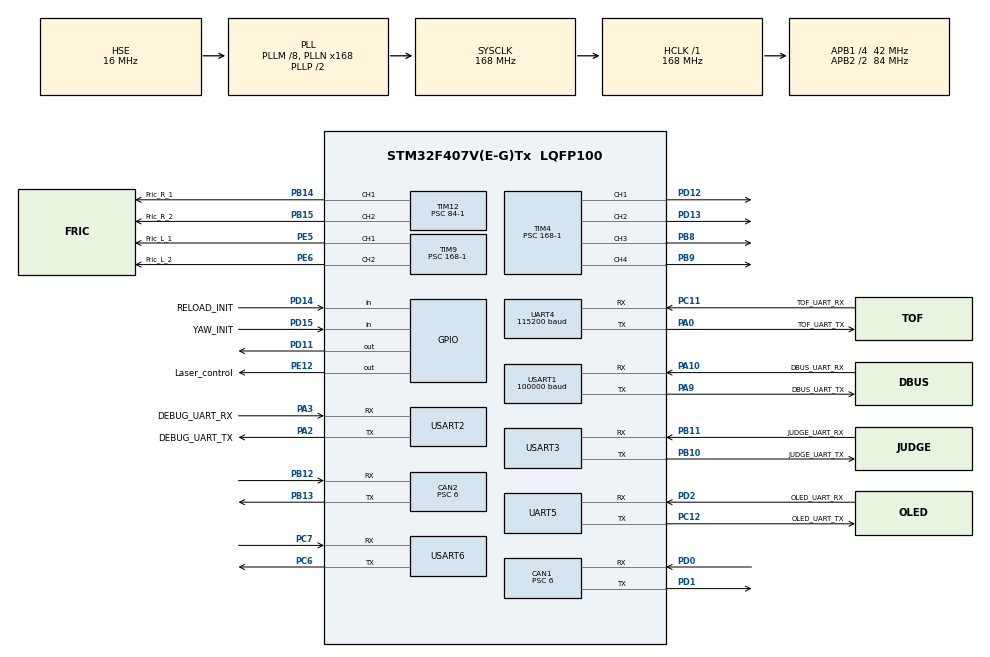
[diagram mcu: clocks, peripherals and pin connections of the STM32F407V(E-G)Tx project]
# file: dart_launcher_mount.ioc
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CAN1.ABOM=ENABLE
CAN1.BS1=CAN_BS1_3TQ
CAN1.BS2=CAN_BS2_3TQ
CAN1.CalculateBaudRate=1000000
CAN1.CalculateTimeBit=1000
CAN1.CalculateTimeQuantum=142.85714285714286
CAN1.Prescaler=6
CAN2.ABOM=ENABLE
CAN2.BS1=CAN_BS1_3TQ
CAN2.BS2=CAN_BS2_3TQ
CAN2.CalculateBaudRate=1000000
CAN2.CalculateTimeBit=1000
CAN2.CalculateTimeQuantum=142.85714285714286
CAN2.Prescaler=6
Dma.Request0=UART4_RX
Dma.Request1=UART4_TX
Dma.Request10=USART6_TX
Dma.Request11=USART6_RX
Dma.Request2=UART5_RX
Dma.Request3=UART5_TX
Dma.Request4=USART1_RX
Dma.Request5=USART1_TX
Dma.Request6=USART2_RX
Dma.Request7=USART2_TX
Dma.Request8=USART3_RX
Dma.Request9=USART3_TX
Dma.UART4_RX.0.Direction=DMA_PERIPH_TO_MEMORY
Dma.UART4_RX.0.FIFOMode=DMA_FIFOMODE_DISABLE
Dma.UART4_RX.0.Instance=DMA1_Stream2
Dma.UART4_RX.0.MemDataAlignment=DMA_MDATAALIGN_BYTE
Dma.UART4_RX.0.MemInc=DMA_MINC_ENABLE
Dma.UART4_RX.0.Mode=DMA_NORMAL
Dma.UART4_RX.0.PeriphDataAlignment=DMA_PDATAALIGN_BYTE
Dma.UART4_RX.0.PeriphInc=DMA_PINC_DISABLE
Dma.UART4_RX.0.Priority=DMA_PRIORITY_LOW
Dma.UART4_TX.1.Direction=DMA_MEMORY_TO_PERIPH
Dma.UART4_TX.1.FIFOMode=DMA_FIFOMODE_DISABLE
Dma.UART4_TX.1.Instance=DMA1_Stream4
Dma.UART4_TX.1.MemDataAlignment=DMA_MDATAALIGN_BYTE
Dma.UART4_TX.1.MemInc=DMA_MINC_ENABLE
Dma.UART4_TX.1.Mode=DMA_NORMAL
Dma.UART4_TX.1.PeriphDataAlignment=DMA_PDATAALIGN_BYTE
Dma.UART4_TX.1.PeriphInc=DMA_PINC_DISABLE
Dma.UART4_TX.1.Priority=DMA_PRIORITY_LOW
Dma.UART5_RX.2.Direction=DMA_PERIPH_TO_MEMORY
Dma.UART5_RX.2.FIFOMode=DMA_FIFOMODE_DISABLE
Dma.UART5_RX.2.Instance=DMA1_Stream0
Dma.UART5_RX.2.MemDataAlignment=DMA_MDATAALIGN_BYTE
Dma.UART5_RX.2.MemInc=DMA_MINC_ENABLE
Dma.UART5_RX.2.Mode=DMA_NORMAL
Dma.UART5_RX.2.PeriphDataAlignment=DMA_PDATAALIGN_BYTE
Dma.UART5_RX.2.PeriphInc=DMA_PINC_DISABLE
Dma.UART5_RX.2.Priority=DMA_PRIORITY_LOW
Dma.UART5_TX.3.Direction=DMA_MEMORY_TO_PERIPH
Dma.UART5_TX.3.FIFOMode=DMA_FIFOMODE_DISABLE
Dma.UART5_TX.3.Instance=DMA1_Stream7
Dma.UART5_TX.3.MemDataAlignment=DMA_MDATAALIGN_BYTE
Dma.UART5_TX.3.MemInc=DMA_MINC_ENABLE
Dma.UART5_TX.3.Mode=DMA_NORMAL
Dma.UART5_TX.3.PeriphDataAlignment=DMA_PDATAALIGN_BYTE
Dma.UART5_TX.3.PeriphInc=DMA_PINC_DISABLE
Dma.UART5_TX.3.Priority=DMA_PRIORITY_LOW
Dma.USART1_RX.4.Direction=DMA_PERIPH_TO_MEMORY
Dma.USART1_RX.4.FIFOMode=DMA_FIFOMODE_DISABLE
Dma.USART1_RX.4.Instance=DMA2_Stream2
Dma.USART1_RX.4.MemDataAlignment=DMA_MDATAALIGN_BYTE
Dma.USART1_RX.4.MemInc=DMA_MINC_ENABLE
Dma.USART1_RX.4.Mode=DMA_NORMAL
Dma.USART1_RX.4.PeriphDataAlignment=DMA_PDATAALIGN_BYTE
Dma.USART1_RX.4.PeriphInc=DMA_PINC_DISABLE
Dma.USART1_RX.4.Priority=DMA_PRIORITY_LOW
Dma.USART1_TX.5.Direction=DMA_MEMORY_TO_PERIPH
Dma.USART1_TX.5.FIFOMode=DMA_FIFOMODE_DISABLE
Dma.USART1_TX.5.Instance=DMA2_Stream7
Dma.USART1_TX.5.MemDataAlignment=DMA_MDATAALIGN_BYTE
Dma.USART1_TX.5.MemInc=DMA_MINC_ENABLE
Dma.USART1_TX.5.Mode=DMA_NORMAL
Dma.USART1_TX.5.PeriphDataAlignment=DMA_PDATAALIGN_BYTE
Dma.USART1_TX.5.PeriphInc=DMA_PINC_DISABLE
Dma.USART1_TX.5.Priority=DMA_PRIORITY_LOW
Dma.USART2_RX.6.Direction=DMA_PERIPH_TO_MEMORY
Dma.USART2_RX.6.FIFOMode=DMA_FIFOMODE_DISABLE
Dma.USART2_RX.6.Instance=DMA1_Stream5
Dma.USART2_RX.6.MemDataAlignment=DMA_MDATAALIGN_BYTE
Dma.USART2_RX.6.MemInc=DMA_MINC_ENABLE
Dma.USART2_RX.6.Mode=DMA_NORMAL
Dma.USART2_RX.6.PeriphDataAlignment=DMA_PDATAALIGN_BYTE
Dma.USART2_RX.6.PeriphInc=DMA_PINC_DISABLE
Dma.USART2_RX.6.Priority=DMA_PRIORITY_LOW
Dma.USART2_TX.7.Direction=DMA_MEMORY_TO_PERIPH
Dma.USART2_TX.7.FIFOMode=DMA_FIFOMODE_DISABLE
Dma.USART2_TX.7.Instance=DMA1_Stream6
Dma.USART2_TX.7.MemDataAlignment=DMA_MDATAALIGN_BYTE
Dma.USART2_TX.7.MemInc=DMA_MINC_ENABLE
Dma.USART2_TX.7.Mode=DMA_NORMAL
Dma.USART2_TX.7.PeriphDataAlignment=DMA_PDATAALIGN_BYTE
Dma.USART2_TX.7.PeriphInc=DMA_PINC_DISABLE
Dma.USART2_TX.7.Priority=DMA_PRIORITY_LOW
Dma.USART3_RX.8.Direction=DMA_PERIPH_TO_MEMORY
Dma.USART3_RX.8.FIFOMode=DMA_FIFOMODE_DISABLE
Dma.USART3_RX.8.Instance=DMA1_Stream1
Dma.USART3_RX.8.MemDataAlignment=DMA_MDATAALIGN_BYTE
Dma.USART3_RX.8.MemInc=DMA_MINC_ENABLE
Dma.USART3_RX.8.Mode=DMA_NORMAL
Dma.USART3_RX.8.PeriphDataAlignment=DMA_PDATAALIGN_BYTE
Dma.USART3_RX.8.PeriphInc=DMA_PINC_DISABLE
Dma.USART3_RX.8.Priority=DMA_PRIORITY_LOW
Dma.USART3_TX.9.Direction=DMA_MEMORY_TO_PERIPH
Dma.USART3_TX.9.FIFOMode=DMA_FIFOMODE_DISABLE
Dma.USART3_TX.9.Instance=DMA1_Stream3
Dma.USART3_TX.9.MemDataAlignment=DMA_MDATAALIGN_BYTE
Dma.USART3_TX.9.MemInc=DMA_MINC_ENABLE
Dma.USART3_TX.9.Mode=DMA_NORMAL
Dma.USART3_TX.9.PeriphDataAlignment=DMA_PDATAALIGN_BYTE
Dma.USART3_TX.9.PeriphInc=DMA_PINC_DISABLE
Dma.USART3_TX.9.Priority=DMA_PRIORITY_LOW
Dma.USART6_RX.11.Direction=DMA_PERIPH_TO_MEMORY
Dma.USART6_RX.11.FIFOMode=DMA_FIFOMODE_DISABLE
Dma.USART6_RX.11.Instance=DMA2_Stream1
Dma.USART6_RX.11.MemDataAlignment=DMA_MDATAALIGN_BYTE
Dma.USART6_RX.11.MemInc=DMA_MINC_ENABLE
Dma.USART6_RX.11.Mode=DMA_NORMAL
Dma.USART6_RX.11.PeriphDataAlignment=DMA_PDATAALIGN_BYTE
Dma.USART6_RX.11.PeriphInc=DMA_PINC_DISABLE
Dma.USART6_RX.11.Priority=DMA_PRIORITY_LOW
Dma.USART6_TX.10.Direction=DMA_MEMORY_TO_PERIPH
Dma.USART6_TX.10.FIFOMode=DMA_FIFOMODE_DISABLE
Dma.USART6_TX.10.Instance=DMA2_Stream6
Dma.USART6_TX.10.MemDataAlignment=DMA_MDATAALIGN_BYTE
Dma.USART6_TX.10.MemInc=DMA_MINC_ENABLE
Dma.USART6_TX.10.Mode=DMA_NORMAL
Dma.USART6_TX.10.PeriphDataAlignment=DMA_PDATAALIGN_BYTE
Dma.USART6_TX.10.PeriphInc=DMA_PINC_DISABLE
Dma.USART6_TX.10.Priority=DMA_PRIORITY_LOW
FREERTOS.INCLUDE_uxTaskGetStackHighWaterMark=1
FREERTOS.INCLUDE_vTaskDelayUntil=1
FREERTOS.Tasks01=defaultTask,0,128,StartDefaultTask,Default,NULL,Dynamic,NULL,NULL
FREERTOS.configUSE_CO_ROUTINES=0
FREERTOS.configUSE_TIMERS=1
Mcu.Family=STM32F4
Mcu.Name=STM32F407V(E-G)Tx
Mcu.Package=LQFP100
NVIC.CAN1_RX0_IRQn=true\:5\:0\:false\:false\:true\:true\:true\:true\:true
NVIC.CAN1_RX1_IRQn=true\:5\:0\:false\:false\:true\:true\:true\:true\:true
NVIC.CAN1_SCE_IRQn=true\:5\:0\:false\:false\:true\:true\:true\:true\:true
NVIC.CAN1_TX_IRQn=true\:5\:0\:false\:false\:true\:true\:true\:true\:true
NVIC.CAN2_RX0_IRQn=true\:5\:0\:false\:false\:true\:true\:true\:true\:true
NVIC.CAN2_RX1_IRQn=true\:5\:0\:false\:false\:true\:true\:true\:true\:true
NVIC.CAN2_SCE_IRQn=true\:5\:0\:false\:false\:true\:true\:true\:true\:true
NVIC.CAN2_TX_IRQn=true\:5\:0\:false\:false\:true\:true\:true\:true\:true
NVIC.DMA1_Stream0_IRQn=true\:5\:0\:false\:false\:true\:true\:false\:true\:true
NVIC.DMA1_Stream1_IRQn=true\:5\:0\:false\:false\:true\:true\:false\:true\:true
NVIC.DMA1_Stream2_IRQn=true\:5\:0\:false\:false\:true\:true\:false\:true\:true
NVIC.DMA1_Stream3_IRQn=true\:5\:0\:false\:false\:true\:true\:false\:true\:true
NVIC.DMA1_Stream4_IRQn=true\:5\:0\:false\:false\:true\:true\:false\:true\:true
NVIC.DMA1_Stream5_IRQn=true\:5\:0\:false\:false\:true\:true\:false\:true\:true
NVIC.DMA1_Stream6_IRQn=true\:5\:0\:false\:false\:true\:true\:false\:true\:true
NVIC.DMA1_Stream7_IRQn=true\:5\:0\:false\:false\:true\:true\:false\:true\:true
NVIC.DMA2_Stream1_IRQn=true\:5\:0\:false\:false\:true\:true\:false\:true\:true
NVIC.DMA2_Stream2_IRQn=true\:5\:0\:false\:false\:true\:true\:false\:true\:true
NVIC.DMA2_Stream6_IRQn=true\:5\:0\:false\:false\:true\:true\:false\:true\:true
NVIC.DMA2_Stream7_IRQn=true\:5\:0\:false\:false\:true\:true\:false\:true\:true
NVIC.PriorityGroup=NVIC_PRIORITYGROUP_4
NVIC.TIM1_BRK_TIM9_IRQn=true\:5\:0\:false\:false\:true\:true\:true\:true\:true
NVIC.TIM1_UP_TIM10_IRQn=true\:5\:0\:false\:false\:true\:true\:true\:true\:true
NVIC.TIM2_IRQn=true\:2\:0\:true\:false\:true\:false\:false\:true\:true
NVIC.TIM3_IRQn=true\:5\:0\:false\:false\:true\:true\:true\:true\:true
NVIC.TIM4_IRQn=true\:5\:0\:false\:false\:true\:true\:true\:true\:true
NVIC.TIM5_IRQn=true\:5\:0\:false\:false\:true\:true\:true\:true\:true
NVIC.TIM8_BRK_TIM12_IRQn=true\:5\:0\:false\:false\:true\:true\:true\:true\:true
NVIC.TimeBase=TIM2_IRQn
NVIC.TimeBaseIP=TIM2
NVIC.UART4_IRQn=true\:5\:0\:false\:false\:true\:true\:false\:true\:true
NVIC.UART5_IRQn=true\:5\:0\:false\:false\:true\:true\:false\:true\:true
NVIC.USART1_IRQn=true\:5\:0\:false\:false\:true\:true\:false\:true\:true
NVIC.USART2_IRQn=true\:5\:0\:false\:false\:true\:true\:false\:true\:true
NVIC.USART3_IRQn=true\:5\:0\:false\:false\:true\:true\:true\:true\:true
NVIC.USART6_IRQn=true\:5\:0\:false\:false\:true\:true\:false\:true\:true
PA0-WKUP.GPIO_Label=TOF_UART_TX
PA0-WKUP.Mode=Asynchronous
PA0-WKUP.Signal=UART4_TX
PA10.GPIO_Label=DBUS_UART_RX
PA10.Mode=Asynchronous
PA10.Signal=USART1_RX
PA13.Mode=Serial_Wire
PA13.Signal=SYS_JTMS-SWDIO
PA14.Mode=Serial_Wire
PA14.Signal=SYS_JTCK-SWCLK
PA2.GPIO_Label=DEBUG_UART_TX
PA2.Mode=Asynchronous
PA2.Signal=USART2_TX
PA3.GPIO_Label=DEBUG_UART_RX
PA3.Mode=Asynchronous
PA3.Signal=USART2_RX
PA9.GPIO_Label=DBUS_UART_TX
PA9.Mode=Asynchronous
PA9.Signal=USART1_TX
PB10.GPIO_Label=JUDGE_UART_TX
PB10.Mode=Asynchronous
PB10.Signal=USART3_TX
PB11.GPIO_Label=JUDGE_UART_RX
PB11.Mode=Asynchronous
PB11.Signal=USART3_RX
PB12.Mode=CAN_Activate
PB12.Signal=CAN2_RX
PB13.Mode=CAN_Activate
PB13.Signal=CAN2_TX
PB14.GPIO_Label=Fric_R_1
PB14.Signal=S_TIM12_CH1
PB15.GPIO_Label=Fric_R_2
PB15.Signal=S_TIM12_CH2
PB8.Signal=S_TIM4_CH3
PB9.Signal=S_TIM4_CH4
PC11.GPIO_Label=TOF_UART_RX
PC11.Mode=Asynchronous
PC11.Signal=UART4_RX
PC12.GPIO_Label=OLED_UART_TX
PC12.Mode=Asynchronous
PC12.Signal=UART5_TX
PC6.Mode=Asynchronous
PC6.Signal=USART6_TX
PC7.Mode=Asynchronous
PC7.Signal=USART6_RX
PD0.Mode=CAN_Activate
PD0.Signal=CAN1_RX
PD1.Mode=CAN_Activate
PD1.Signal=CAN1_TX
PD11.Signal=GPIO_Output
PD12.Signal=S_TIM4_CH1
PD13.Signal=S_TIM4_CH2
PD14.GPIO_Label=RELOAD_INIT
PD14.GPIO_PuPd=GPIO_PULLUP
PD14.Signal=GPIO_Input
PD15.GPIO_Label=YAW_INIT
PD15.GPIO_PuPd=GPIO_PULLUP
PD15.Signal=GPIO_Input
PD2.GPIO_Label=OLED_UART_RX
PD2.Mode=Asynchronous
PD2.Signal=UART5_RX
PE12.GPIO_Label=Laser_control
PE12.Signal=GPIO_Output
PE5.GPIO_Label=Fric_L_1
PE5.Signal=S_TIM9_CH1
PE6.GPIO_Label=Fric_L_2
PE6.Signal=S_TIM9_CH2
PH0-OSC_IN.Mode=HSE-External-Oscillator
PH0-OSC_IN.Signal=RCC_OSC_IN
PH1-OSC_OUT.Mode=HSE-External-Oscillator
PH1-OSC_OUT.Signal=RCC_OSC_OUT
ProjectManager.HeapSize=0x1000
ProjectManager.StackSize=0x600
ProjectManager.TargetToolchain=MDK-ARM V5.32
RCC.48MHZClocksFreq_Value=84000000
RCC.AHBFreq_Value=168000000
RCC.APB1CLKDivider=RCC_HCLK_DIV4
RCC.APB1Freq_Value=42000000
RCC.APB1TimFreq_Value=84000000
RCC.APB2CLKDivider=RCC_HCLK_DIV2
RCC.APB2Freq_Value=84000000
RCC.APB2TimFreq_Value=168000000
RCC.CortexFreq_Value=168000000
RCC.HCLKFreq_Value=168000000
RCC.HSE_VALUE=16000000
RCC.HSI_VALUE=16000000
RCC.LSE_VALUE=32768
RCC.PLLM=8
RCC.PLLN=168
RCC.PLLSourceVirtual=RCC_PLLSOURCE_HSE
RCC.SYSCLKFreq_VALUE=168000000
RCC.SYSCLKSource=RCC_SYSCLKSOURCE_PLLCLK
RCC.VCOOutputFreq_Value=336000000
SH.S_TIM12_CH1.0=TIM12_CH1,PWM Generation1 CH1
SH.S_TIM12_CH2.0=TIM12_CH2,PWM Generation2 CH2
SH.S_TIM4_CH1.0=TIM4_CH1,PWM Generation1 CH1
SH.S_TIM4_CH2.0=TIM4_CH2,PWM Generation2 CH2
SH.S_TIM4_CH3.0=TIM4_CH3,PWM Generation3 CH3
SH.S_TIM4_CH4.0=TIM4_CH4,PWM Generation4 CH4
SH.S_TIM9_CH1.0=TIM9_CH1,PWM Generation1 CH1
SH.S_TIM9_CH2.0=TIM9_CH2,PWM Generation2 CH2
TIM12.Channel-PWM\ Generation1\ CH1=TIM_CHANNEL_1
TIM12.Channel-PWM\ Generation2\ CH2=TIM_CHANNEL_2
TIM12.Prescaler=84-1
TIM3.Period=999
TIM3.Prescaler=83
TIM4.Channel-PWM\ Generation1\ CH1=TIM_CHANNEL_1
TIM4.Channel-PWM\ Generation2\ CH2=TIM_CHANNEL_2
TIM4.Channel-PWM\ Generation3\ CH3=TIM_CHANNEL_3
TIM4.Channel-PWM\ Generation4\ CH4=TIM_CHANNEL_4
TIM4.Prescaler=168-1
TIM5.Prescaler=8400-1
TIM9.Channel-PWM\ Generation1\ CH1=TIM_CHANNEL_1
TIM9.Channel-PWM\ Generation2\ CH2=TIM_CHANNEL_2
TIM9.Prescaler=168-1
UART4.BaudRate=115200
UART4.VirtualMode=Asynchronous
UART5.VirtualMode=Asynchronous
USART1.BaudRate=100000
USART1.Parity=PARITY_EVEN
USART1.VirtualMode=VM_ASYNC
USART1.WordLength=WORDLENGTH_9B
USART2.VirtualMode=VM_ASYNC
USART3.VirtualMode=VM_ASYNC
USART6.VirtualMode=VM_ASYNC
VP_FREERTOS_VS_CMSIS_V1.Mode=CMSIS_V1
VP_SYS_VS_tim2.Mode=TIM2
VP_TIM10_VS_ClockSourceINT.Mode=Enable_Timer
VP_TIM12_VS_ClockSourceINT.Mode=Internal
VP_TIM3_VS_ClockSourceINT.Mode=Internal
VP_TIM4_VS_ClockSourceINT.Mode=Internal
VP_TIM5_VS_ClockSourceINT.Mode=Internal
VP_TIM9_VS_ClockSourceINT.Mode=Internal
board=custom

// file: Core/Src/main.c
/* USER CODE BEGIN Header */
/**
  ******************************************************************************
  * @file           : main.c
  * @brief          : Main program body
  ******************************************************************************
  * @attention
  *
  * Copyright (c) 2025 STMicroelectronics.
  * All rights reserved.

  * 上场模式：	串口屏点上场模式，无论要不要改数据，不点默认测试，
				搬运镖架时一定开保护（SB置中间），不然无法记录闸门开了几次
				裁判系统自检完毕后，即比赛开始后拨SB置上（遥控）或下（视觉）

  *比赛开始后遥控器状态：SA SC 均为下拉置最低  SB根据有摄像机拨上无则拨下
		  串口屏进入上场模式的调参界面
  !!!比赛没321开始（裁判系统没自检完）时一定打保护

  ******************************************************************************
  */
/* USER CODE END Header */
#include "main.h"
#include "cmsis_os.h"
#include "can.h"
#include "dma.h"
#include "tim.h"
#include "usart.h"
#include "gpio.h"

/* USER CODE BEGIN Includes */
#include "can_comm.h"
#include "reload_task.h"
#include "bsp_usart.h"
#include "micro_swicth.h"
#include "tof.h"
/* USER CODE END Includes */

void SystemClock_Config(void);
void MX_FREERTOS_Init(void);

int main(void)
{

  /* MCU Configuration--------------------------------------------------------*/

  /* Reset of all peripherals, Initializes the Flash interface and the Systick. */
  HAL_Init();

  /* Configure the system clock */
  SystemClock_Config();

  /* Initialize all configured peripherals */
  MX_GPIO_Init();
  MX_DMA_Init();
  MX_CAN1_Init();
  MX_CAN2_Init();
  MX_UART4_Init();
  MX_UART5_Init();
  MX_USART1_UART_Init();
  MX_USART2_UART_Init();
  MX_USART3_UART_Init();
  MX_USART6_UART_Init();
  MX_TIM4_Init();
  MX_TIM5_Init();
  MX_TIM9_Init();
  MX_TIM12_Init();
  MX_TIM3_Init();
  MX_TIM10_Init();
  /* USER CODE BEGIN 2 */
	Can_Device_Init();
	USER_UART_Init();
	HAL_TIM_Base_Start_IT(&htim3);
  /* USER CODE END 2 */

  /* Call init function for freertos objects (in cmsis_os2.c) */
  MX_FREERTOS_Init();

  /* Start scheduler */
  osKernelStart();

  /* We should never get here as control is now taken by the scheduler */

  /* Infinite loop */
  while (1)
  {

  }
}

void SystemClock_Config(void)
{
  RCC_OscInitTypeDef RCC_OscInitStruct = {0};
  RCC_ClkInitTypeDef RCC_ClkInitStruct = {0};

  /** Configure the main internal regulator output voltage
  */
  __HAL_RCC_PWR_CLK_ENABLE();
  __HAL_PWR_VOLTAGESCALING_CONFIG(PWR_REGULATOR_VOLTAGE_SCALE1);

  /** Initializes the RCC Oscillators according to the specified parameters
  * in the RCC_OscInitTypeDef structure.
  */
  RCC_OscInitStruct.OscillatorType = RCC_OSCILLATORTYPE_HSE;
  RCC_OscInitStruct.HSEState = RCC_HSE_ON;
  RCC_OscInitStruct.PLL.PLLState = RCC_PLL_ON;
  RCC_OscInitStruct.PLL.PLLSource = RCC_PLLSOURCE_HSE;
  RCC_OscInitStruct.PLL.PLLM = 8;
  RCC_OscInitStruct.PLL.PLLN = 168;
  RCC_OscInitStruct.PLL.PLLP = RCC_PLLP_DIV2;
  RCC_OscInitStruct.PLL.PLLQ = 4;
  if (HAL_RCC_OscConfig(&RCC_OscInitStruct) != HAL_OK)
  {
    Error_Handler();
  }

  /** Initializes the CPU, AHB and APB buses clocks
  */
  RCC_ClkInitStruct.ClockType = RCC_CLOCKTYPE_HCLK|RCC_CLOCKTYPE_SYSCLK
                              |RCC_CLOCKTYPE_PCLK1|RCC_CLOCKTYPE_PCLK2;
  RCC_ClkInitStruct.SYSCLKSource = RCC_SYSCLKSOURCE_PLLCLK;
  RCC_ClkInitStruct.AHBCLKDivider = RCC_SYSCLK_DIV1;
  RCC_ClkInitStruct.APB1CLKDivider = RCC_HCLK_DIV4;
  RCC_ClkInitStruct.APB2CLKDivider = RCC_HCLK_DIV2;

  if (HAL_RCC_ClockConfig(&RCC_ClkInitStruct, FLASH_LATENCY_5) != HAL_OK)
  {
    Error_Handler();
  }
}

/* USER CODE BEGIN 4 */
volatile uint64_t _1ms_cnt;
/* USER CODE END 4 */

void HAL_TIM_PeriodElapsedCallback(TIM_HandleTypeDef *htim)
{
  /* USER CODE BEGIN Callback 0 */
	if (htim->Instance == TIM3)//1ms定时器
	{
		_1ms_cnt++;
		MicroSwicth_Callback();
		Reload_Tick();
		TOF_Tick();
	}

  /* USER CODE END Callback 0 */
  if (htim->Instance == TIM2)
  {
    HAL_IncTick();
  }
}

void Error_Handler(void)
{
  __disable_irq();
  while (1)
  {
  }
}

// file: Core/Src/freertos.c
/* USER CODE BEGIN Header */
/**
  ******************************************************************************
  * File Name          : freertos.c
  * Description        : Code for freertos applications
  ******************************************************************************
  * @attention
  *
  * Copyright (c) 2025 STMicroelectronics.
  * All rights reserved.
  *
  * This software is licensed under terms that can be found in the LICENSE file
  * in the root directory of this software component.
  * If no LICENSE file comes with this software, it is provided AS-IS.
  *
  ******************************************************************************
  */
/* USER CODE END Header */

#include "FreeRTOS.h"
#include "task.h"
#include "main.h"
#include "cmsis_os.h"

/* USER CODE BEGIN Includes */
#include "can_comm.h"

#include "shoot_task.h"
#include "reload_task.h"
#include "gimbal_task.h"
#include "bsp_serial_screen.h"

#include "modeswitch_task.h"

#include "debug_task.h"
/* USER CODE END Includes */

osThreadId defaultTaskHandle;

/* USER CODE BEGIN FunctionPrototypes */
osThreadId can_send_task_handle;

osThreadId tof_task_handle;

osThreadId shoot_task_handle;
osThreadId reload_task_handle;
osThreadId giambal_task_handle;
osThreadId modeswitch_task_handle;

osThreadId temp_task_handle;
osThreadId serial_screen_task_handle;

osThreadId debug_task_handle;
/* USER CODE END FunctionPrototypes */

void StartDefaultTask(void const * argument);

void MX_FREERTOS_Init(void); /* (MISRA C 2004 rule 8.1) */

/* GetIdleTaskMemory prototype (linked to static allocation support) */
void vApplicationGetIdleTaskMemory( StaticTask_t **ppxIdleTaskTCBBuffer, StackType_t **ppxIdleTaskStackBuffer, uint32_t *pulIdleTaskStackSize );

/* GetTimerTaskMemory prototype (linked to static allocation support) */
void vApplicationGetTimerTaskMemory( StaticTask_t **ppxTimerTaskTCBBuffer, StackType_t **ppxTimerTaskStackBuffer, uint32_t *pulTimerTaskStackSize );

/* USER CODE BEGIN GET_IDLE_TASK_MEMORY */
static StaticTask_t xIdleTaskTCBBuffer;
static StackType_t xIdleStack[configMINIMAL_STACK_SIZE];

void vApplicationGetIdleTaskMemory( StaticTask_t **ppxIdleTaskTCBBuffer, StackType_t **ppxIdleTaskStackBuffer, uint32_t *pulIdleTaskStackSize )
{
  *ppxIdleTaskTCBBuffer = &xIdleTaskTCBBuffer;
  *ppxIdleTaskStackBuffer = &xIdleStack[0];
  *pulIdleTaskStackSize = configMINIMAL_STACK_SIZE;
  /* place for user code */
}
/* USER CODE END GET_IDLE_TASK_MEMORY */

/* USER CODE BEGIN GET_TIMER_TASK_MEMORY */
static StaticTask_t xTimerTaskTCBBuffer;
static StackType_t xTimerStack[configTIMER_TASK_STACK_DEPTH];

void vApplicationGetTimerTaskMemory( StaticTask_t **ppxTimerTaskTCBBuffer, StackType_t **ppxTimerTaskStackBuffer, uint32_t *pulTimerTaskStackSize )
{
  *ppxTimerTaskTCBBuffer = &xTimerTaskTCBBuffer;
  *ppxTimerTaskStackBuffer = &xTimerStack[0];
  *pulTimerTaskStackSize = configTIMER_TASK_STACK_DEPTH;
  /* place for user code */
}
/* USER CODE END GET_TIMER_TASK_MEMORY */

void MX_FREERTOS_Init(void) {

  /* Create the thread(s) */
  /* definition and creation of defaultTask */
  osThreadDef(defaultTask, StartDefaultTask, osPriorityNormal, 0, 128);
  defaultTaskHandle = osThreadCreate(osThread(defaultTask), NULL);

  /* USER CODE BEGIN RTOS_THREADS */
  /* add threads, ... */
  taskENTER_CRITICAL();
/**************************High Priority****************************/
    osThreadDef(canSendTask, Can_Send_Task, osPriorityHigh, 0, 256);
	can_send_task_handle = osThreadCreate(osThread(canSendTask), NULL);
/**************************osPriorityAboveNormal Priority****************************/

	osThreadDef(shootTask, Shoot_Task, osPriorityAboveNormal, 0, 256);
	shoot_task_handle = osThreadCreate(osThread(shootTask), NULL);

	osThreadDef(gimbalTask, Gimbal_Task, osPriorityAboveNormal, 0, 256);
	reload_task_handle = osThreadCreate(osThread(gimbalTask), NULL);

	osThreadDef(reloadTask, Reload_Task, osPriorityAboveNormal, 0, 256);
	giambal_task_handle = osThreadCreate(osThread(reloadTask), NULL);

	osThreadDef(screenTask, Serial_Screen_Task, osPriorityAboveNormal, 0, 256);
	serial_screen_task_handle = osThreadCreate(osThread(screenTask), NULL);

/**************************osPriorityNormal Priority****************************/
	osThreadDef(modeswitchTask, ModeSwitch_Task, osPriorityNormal, 0, 256);
	modeswitch_task_handle = osThreadCreate(osThread(modeswitchTask), NULL);

/**************************Low Priority****************************/
	osThreadDef(debugTask, Debug_Task, osPriorityLow, 0, 500);
	debug_task_handle = osThreadCreate(osThread(debugTask), NULL);
	taskEXIT_CRITICAL();
  /* USER CODE END RTOS_THREADS */

}

void StartDefaultTask(void const * argument)
{
  for(;;)
  {
    osDelay(1);
  }
}
